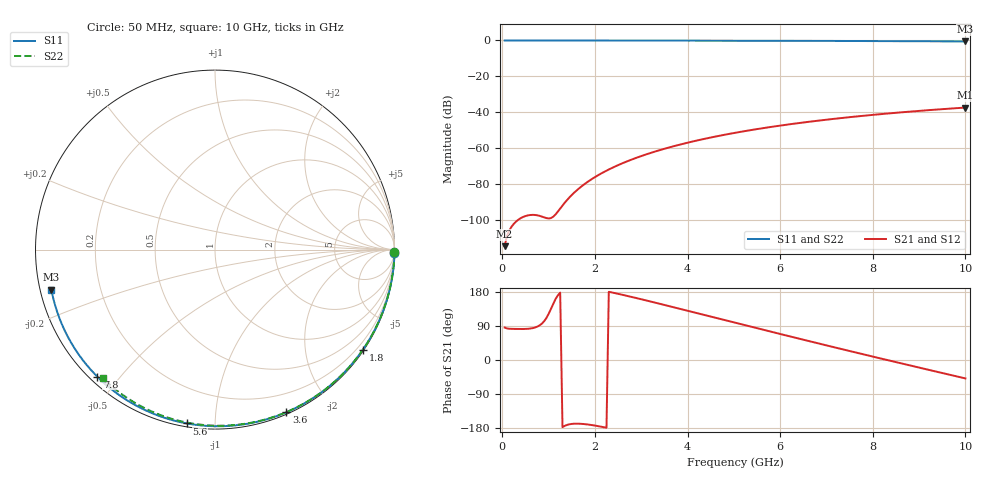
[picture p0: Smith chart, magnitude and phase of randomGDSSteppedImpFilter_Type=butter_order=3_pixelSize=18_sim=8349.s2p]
! freq	dB(S11)	phase(S11)	dB(S12)	phase(S12)
!  dB(S21)	phase(S21)	dB(S22)	phase(S22)
!S-par simulation data
#  GHz  S  DB  R 50
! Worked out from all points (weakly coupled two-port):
!   200 points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, 50 MHz to 10 GHz, reference 50 ohm
!   highest |S21| = -37.34 dB at 10 GHz (marker M1); lowest = -114.4 dB at 50 MHz (marker M2)
!   lowest |S11| = -0.6 dB at 10 GHz (marker M3), VSWR 31.47, Z = 1.61 - j6.01 ohm
!   |S11| at or under -10 dB: nowhere
!   |S22| runs from -0.4 to 0.0 dB; largest |S21 - S12| = 0
!   S11 on the Smith chart (normalised r, x): 50 MHz: open; 1.8 GHz: 0.03, -3.26; 3.6 GHz: 0.02, -1.53; 5.6 GHz: 0.02, -0.85; 7.8 GHz: 0.02, -0.44; 10 GHz: 0.03, -0.12
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0.05  -0.00 -1.0  -114.45 85.6  -114.45 85.6  -0.00 -0.8
0.45  -0.01 -8.7  -98.18 81.8  -98.18 81.8  -0.01 -6.8
0.85  -0.02 -16.3  -97.92 95.5  -97.92 95.5  -0.02 -12.8
1.3  -0.03 -24.8  -91.82 -177.2  -91.82 -177.2  -0.02 -19.5
1.75  -0.04 -33.2  -80.39 -168.8  -80.39 -168.8  -0.03 -26.2
1.8  -0.04 -34.1  -79.44 -169.5  -79.44 -169.5  -0.03 -26.9
2.1  -0.05 -39.6  -74.52 -175.2  -74.52 -175.2  -0.04 -31.3
2.3  -0.06 -43.3  -71.79 180.0  -71.79 180.0  -0.04 -34.2
2.5  -0.06 -46.9  -69.37 174.7  -69.37 174.7  -0.05 -37.1
2.9  -0.07 -54.1  -65.24 163.3  -65.24 163.3  -0.06 -42.8
3.4  -0.08 -62.9  -61.01 148.4  -61.01 148.4  -0.07 -49.8
3.6  -0.09 -66.3  -59.54 142.3  -59.54 142.3  -0.07 -52.6
4.3  -0.11 -78.2  -55.10 120.8  -55.10 120.8  -0.09 -62.1
5.05  -0.14 -90.5  -51.27 97.7  -51.27 97.7  -0.11 -72.1
5.6  -0.16 -99.2  -48.90 80.9  -48.90 80.9  -0.13 -79.2
6.15  -0.19 -107.8  -46.83 64.1  -46.83 64.1  -0.15 -86.1
6.7  -0.23 -116.3  -44.99 47.5  -44.99 47.5  -0.18 -92.9
7.25  -0.27 -124.6  -43.36 31.1  -43.36 31.1  -0.21 -99.6
7.8  -0.31 -132.9  -41.89 14.8  -41.89 14.8  -0.25 -106.1
8.35  -0.36 -141.1  -40.57 -1.2  -40.57 -1.2  -0.29 -112.5
9.2  -0.45 -153.9  -38.78 -25.8  -38.78 -25.8  -0.36 -122.2
10  -0.55 -166.3  -37.34 -48.6  -37.34 -48.6  -0.44 -131.2
